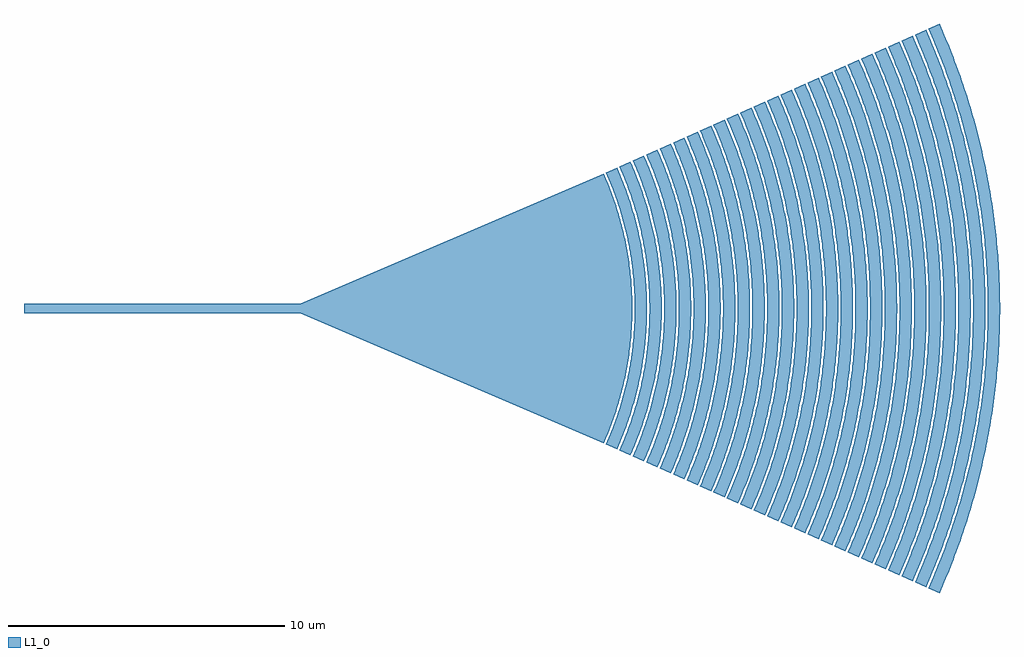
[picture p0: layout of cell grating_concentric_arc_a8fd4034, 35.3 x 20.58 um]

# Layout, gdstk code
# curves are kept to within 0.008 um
import gdstk
lib = gdstk.Library(unit=1e-6, precision=2e-09)
def R(c, l, rs):  # rectangles x0, y0, x1, y1
    for r in rs: c.add(gdstk.rectangle(r[:2], r[2:], *l))
def P(c, l, *ps):  # polygons
    for p in ps: c.add(gdstk.Polygon(p, *l))
L1_0 = (1, 0)

straight_3aa2beef = lib.new_cell('straight_3aa2beef')
R(straight_3aa2beef, L1_0, [(0,-0.174,10,0.174)])

ring_cb5abba0_transform_ = lib.new_cell('ring_cb5abba0_transform_9b5895cb')
P(ring_cb5abba0_transform_, L1_0, [(11.046,-4.918),(11.264,-4.4),(11.434,-3.936),(11.624,-3.334),(11.75,-2.858),(11.884,-2.238),(11.984,-1.614),(12.034,-1.194),(12.08,-0.562),(12.092,0.14),(12.068,0.774),(11.994,1.544),(11.884,2.238),(11.75,2.858),(11.564,3.536),(11.314,4.268),(11.046,4.918),(11.448,5.098),(11.752,4.354),(12.006,3.594),(12.178,2.96),(12.316,2.32),(12.43,1.6),(12.502,0.874),(12.532,0.146),(12.522,-0.51),(12.502,-0.874),(12.448,-1.454),(12.316,-2.32),(12.228,-2.748),(12.124,-3.174),(12.006,-3.594),(11.85,-4.08),(11.674,-4.56),(11.448,-5.098)])

ring_c7aa2b45_transform_ = lib.new_cell('ring_c7aa2b45_transform_c4ac4f29')
P(ring_c7aa2b45_transform_, L1_0, [(11.532,-5.134),(11.76,-4.592),(11.984,-3.97),(12.156,-3.41),(12.284,-2.912),(12.42,-2.264),(12.512,-1.684),(12.57,-1.174),(12.614,-0.514),(12.624,0.146),(12.594,0.88),(12.512,1.684),(12.42,2.264),(12.25,3.054),(12.094,3.62),(11.838,4.386),(11.532,5.134),(11.934,5.314),(12.224,4.61),(12.494,3.82),(12.658,3.234),(12.81,2.568),(12.958,1.668),(13.038,0.836),(13.064,0.152),(13.054,-0.532),(13.026,-0.988),(12.976,-1.516),(12.866,-2.268),(12.81,-2.568),(12.658,-3.234),(12.424,-4.038),(12.142,-4.824),(11.934,-5.314)])

ring_50b1c649_transform_ = lib.new_cell('ring_50b1c649_transform_2cfbf9c7')
P(ring_50b1c649_transform_, L1_0, [(12.018,-5.352),(12.17,-5),(12.44,-4.284),(12.626,-3.7),(12.802,-3.034),(12.9,-2.586),(13.018,-1.906),(13.1,-1.222),(13.146,-0.536),(13.156,0.154),(13.13,0.842),(13.1,1.222),(13.038,1.756),(12.9,2.586),(12.728,3.332),(12.536,3.992),(12.31,4.644),(12.018,5.352),(12.42,5.53),(12.722,4.798),(13.002,3.976),(13.212,3.212),(13.362,2.516),(13.464,1.892),(13.558,1.028),(13.596,0.158),(13.588,-0.474),(13.558,-1.028),(13.522,-1.422),(13.404,-2.282),(13.316,-2.75),(13.212,-3.212),(13.07,-3.748),(12.93,-4.202),(12.694,-4.872),(12.42,-5.53)])

ring_8aef06f3_transform_ = lib.new_cell('ring_8aef06f3_transform_fe53b6db')
P(ring_8aef06f3_transform_, L1_0, [(12.504,-5.568),(12.78,-4.906),(12.994,-4.306),(13.18,-3.696),(13.338,-3.08),(13.452,-2.534),(13.566,-1.826),(13.65,-1.034),(13.68,-0.478),(13.688,0.16),(13.65,1.034),(13.566,1.826),(13.422,2.69),(13.222,3.542),(12.994,4.306),(12.78,4.906),(12.504,5.568),(12.906,5.746),(13.19,5.064),(13.462,4.288),(13.668,3.578),(13.82,2.938),(13.884,2.616),(14.002,1.884),(14.082,1.15),(14.128,0.164),(14.12,-0.494),(14.06,-1.396),(14.002,-1.884),(13.914,-2.454),(13.748,-3.258),(13.604,-3.816),(13.462,-4.288),(13.19,-5.064),(12.906,-5.746)])

ring_7a023c08_transform_ = lib.new_cell('ring_7a023c08_transform_02e0dae3')
P(ring_7a023c08_transform_, L1_0, [(12.99,-5.784),(13.216,-5.25),(13.446,-4.63),(13.67,-3.92),(13.856,-3.198),(13.99,-2.55),(14.094,-1.898),(14.174,-1.156),(14.212,-0.496),(14.22,0.166),(14.192,0.91),(14.094,1.898),(13.99,2.55),(13.818,3.36),(13.67,3.92),(13.55,4.316),(13.306,5.018),(12.99,5.784),(13.392,5.962),(13.656,5.334),(13.916,4.612),(14.02,4.286),(14.204,3.63),(14.358,2.964),(14.506,2.124),(14.612,1.192),(14.656,0.342),(14.652,-0.512),(14.63,-0.938),(14.58,-1.532),(14.53,-1.956),(14.438,-2.546),(14.246,-3.464),(14.02,-4.286),(13.776,-5.014),(13.656,-5.334),(13.392,-5.962)])

ring_7c3c176a_transform_ = lib.new_cell('ring_7c3c176a_transform_70f69381')
P(ring_7c3c176a_transform_, L1_0, [(13.476,-6),(13.742,-5.366),(14.004,-4.64),(14.228,-3.9),(14.394,-3.234),(14.528,-2.562),(14.632,-1.882),(14.704,-1.2),(14.744,-0.514),(14.746,0.43),(14.704,1.2),(14.632,1.882),(14.482,2.814),(14.294,3.652),(14.108,4.314),(13.862,5.046),(13.646,5.606),(13.476,6),(13.878,6.18),(14.184,5.444),(14.476,4.61),(14.698,3.846),(14.896,2.986),(15.032,2.202),(15.09,1.764),(15.142,1.236),(15.186,0.442),(15.186,-0.442),(15.162,-0.972),(15.118,-1.5),(15.006,-2.376),(14.842,-3.246),(14.698,-3.846),(14.554,-4.358),(14.246,-5.278),(14.086,-5.692),(13.878,-6.18)])

ring_800be2b0_transform_ = lib.new_cell('ring_800be2b0_transform_31119a89')
P(ring_800be2b0_transform_, L1_0, [(13.962,-6.216),(14.27,-5.478),(14.536,-4.724),(14.764,-3.956),(14.912,-3.352),(15.068,-2.566),(15.16,-1.95),(15.248,-1.066),(15.278,-0.444),(15.278,0.444),(15.234,1.244),(15.136,2.128),(15.004,2.916),(14.852,3.612),(14.716,4.128),(14.564,4.638),(14.27,5.478),(13.962,6.216),(14.364,6.396),(14.68,5.636),(14.868,5.12),(15.038,4.598),(15.258,3.804),(15.436,3),(15.572,2.188),(15.68,1.188),(15.718,0.458),(15.718,-0.458),(15.698,-0.914),(15.648,-1.552),(15.596,-2.008),(15.516,-2.55),(15.436,-3),(15.322,-3.538),(15.212,-3.982),(15.038,-4.598),(14.868,-5.12),(14.68,-5.636),(14.364,-6.396)])

ring_94457c26_transform_ = lib.new_cell('ring_94457c26_transform_532d7ecf')
P(ring_94457c26_transform_, L1_0, [(14.448,-6.434),(14.766,-5.668),(15.014,-4.974),(15.254,-4.182),(15.432,-3.468),(15.592,-2.656),(15.71,-1.836),(15.772,-1.196),(15.81,-0.46),(15.81,0.46),(15.772,1.196),(15.71,1.836),(15.65,2.292),(15.526,3.018),(15.324,3.916),(15.126,4.624),(14.954,5.15),(14.766,5.668),(14.448,6.434),(14.85,6.612),(15.21,5.738),(15.49,4.934),(15.774,3.932),(15.94,3.194),(16.098,2.262),(16.186,1.512),(16.25,0.472),(16.25,-0.472),(16.21,-1.228),(16.168,-1.7),(16.026,-2.73),(15.84,-3.656),(15.574,-4.662),(15.432,-5.114),(15.244,-5.648),(15.108,-6.002),(14.85,-6.612)])

ring_a4a56223_transform_ = lib.new_cell('ring_a4a56223_transform_c1640bcb')
P(ring_a4a56223_transform_, L1_0, [(14.934,-6.65),(15.194,-6.036),(15.458,-5.322),(15.688,-4.598),(15.93,-3.678),(16.084,-2.932),(16.19,-2.276),(16.302,-1.236),(16.342,-0.476),(16.342,0.476),(16.278,1.52),(16.19,2.276),(16.03,3.212),(15.84,4.048),(15.578,4.962),(15.296,5.77),(14.934,6.65),(15.336,6.828),(15.674,6.016),(15.906,5.374),(16.026,5.002),(16.29,4.062),(16.48,3.204),(16.582,2.626),(16.664,2.046),(16.748,1.172),(16.788,0.196),(16.782,-0.488),(16.748,-1.172),(16.716,-1.56),(16.664,-2.046),(16.582,-2.626),(16.48,-3.204),(16.38,-3.682),(16.242,-4.25),(16.11,-4.722),(15.906,-5.374),(15.776,-5.742),(15.566,-6.288),(15.336,-6.828)])

ring_c39fd912_transform_ = lib.new_cell('ring_c39fd912_transform_6b4ebeaa')
P(ring_c39fd912_transform_, L1_0, [(15.42,-6.866),(15.76,-6.05),(16.024,-5.31),(16.254,-4.558),(16.47,-3.702),(16.624,-2.932),(16.73,-2.252),(16.808,-1.57),(16.858,-0.884),(16.874,-0.49),(16.874,0.49),(16.858,0.884),(16.808,1.57),(16.688,2.544),(16.552,3.318),(16.426,3.892),(16.306,4.368),(16.114,5.03),(15.76,6.05),(15.42,6.866),(15.822,7.044),(16.206,6.112),(16.504,5.256),(16.782,4.288),(16.982,3.404),(17.138,2.51),(17.246,1.61),(17.31,0.604),(17.316,-0.404),(17.302,-0.806),(17.246,-1.61),(17.138,-2.51),(17.058,-3.008),(16.942,-3.602),(16.782,-4.288),(16.622,-4.87),(16.442,-5.448),(16.276,-5.924),(16.02,-6.582),(15.822,-7.044)])

ring_73b58f91_transform_ = lib.new_cell('ring_73b58f91_transform_e67d6896')
P(ring_73b58f91_transform_, L1_0, [(15.906,-7.082),(16.22,-6.334),(16.496,-5.574),(16.766,-4.702),(16.966,-3.916),(17.166,-2.924),(17.27,-2.222),(17.328,-1.72),(17.37,-1.214),(17.408,-0.406),(17.402,0.608),(17.37,1.214),(17.328,1.72),(17.214,2.624),(17.052,3.522),(16.896,4.212),(16.766,4.702),(16.592,5.284),(16.292,6.146),(15.906,7.082),(16.308,7.262),(16.514,6.784),(16.704,6.3),(17.01,5.418),(17.244,4.62),(17.484,3.61),(17.664,2.588),(17.744,1.97),(17.794,1.452),(17.842,0.624),(17.848,-0.416),(17.794,-1.452),(17.744,-1.97),(17.664,-2.588),(17.544,-3.304),(17.44,-3.814),(17.296,-4.42),(17.132,-5.02),(16.914,-5.714),(16.74,-6.204),(16.514,-6.784),(16.308,-7.262)])

ring_4228f2cd_transform_ = lib.new_cell('ring_4228f2cd_transform_88c4e8f1')
P(ring_4228f2cd_transform_, L1_0, [(16.392,-7.298),(16.79,-6.334),(17.034,-5.644),(17.306,-4.746),(17.508,-3.934),(17.69,-3.014),(17.798,-2.29),(17.894,-1.356),(17.94,-0.418),(17.934,0.626),(17.876,1.564),(17.798,2.29),(17.74,2.704),(17.574,3.628),(17.36,4.544),(17.066,5.546),(16.79,6.334),(16.392,7.298),(16.794,7.478),(17.164,6.588),(17.518,5.58),(17.786,4.654),(17.914,4.136),(18.026,3.612),(18.124,3.088),(18.206,2.558),(18.324,1.496),(18.374,0.642),(18.38,-0.428),(18.324,-1.496),(18.248,-2.24),(18.158,-2.876),(18.026,-3.612),(17.914,-4.136),(17.672,-5.068),(17.518,-5.58),(17.276,-6.288),(17.006,-6.986),(16.794,-7.478)])

ring_da6751a1_transform_ = lib.new_cell('ring_da6751a1_transform_8f6bdd80')
P(ring_da6751a1_transform_, L1_0, [(16.878,-7.516),(17.25,-6.622),(17.572,-5.71),(17.79,-4.99),(17.954,-4.366),(18.05,-3.946),(18.232,-2.996),(18.352,-2.144),(18.432,-1.288),(18.472,-0.43),(18.466,0.644),(18.416,1.504),(18.352,2.144),(18.282,2.678),(18.116,3.63),(17.902,4.574),(17.638,5.504),(17.47,6.016),(17.25,6.622),(16.878,7.516),(17.28,7.694),(17.498,7.188),(17.738,6.574),(18.058,5.636),(18.328,4.682),(18.548,3.718),(18.648,3.176),(18.748,2.524),(18.854,1.538),(18.912,0.44),(18.912,-0.44),(18.854,-1.538),(18.776,-2.306),(18.684,-2.96),(18.59,-3.502),(18.48,-4.04),(18.328,-4.682),(18.184,-5.214),(17.99,-5.846),(17.776,-6.47),(17.498,-7.188),(17.28,-7.694)])

ring_c691ef72_transform_ = lib.new_cell('ring_c691ef72_transform_29a0d473')
P(ring_c691ef72_transform_, L1_0, [(17.364,-7.732),(17.706,-6.916),(18.044,-5.978),(18.302,-5.134),(18.522,-4.276),(18.72,-3.3),(18.824,-2.646),(18.88,-2.206),(18.97,-1.216),(19.004,-0.442),(19.004,0.442),(18.946,1.546),(18.824,2.646),(18.638,3.736),(18.444,4.598),(18.146,5.664),(17.786,6.708),(17.498,7.428),(17.364,7.732),(17.766,7.91),(18.116,7.076),(18.314,6.546),(18.532,5.902),(18.786,5.034),(18.924,4.486),(19.07,3.822),(19.226,2.93),(19.354,1.92),(19.428,0.904),(19.446,0.34),(19.446,-0.34),(19.428,-0.904),(19.384,-1.582),(19.304,-2.37),(19.226,-2.93),(19.024,-4.044),(18.898,-4.596),(18.726,-5.252),(18.532,-5.902),(18.276,-6.652),(17.99,-7.39),(17.766,-7.91)])

ring_c10de760_transform_ = lib.new_cell('ring_c10de760_transform_f8314196')
P(ring_c10de760_transform_, L1_0, [(17.852,-7.948),(18.202,-7.108),(18.362,-6.684),(18.584,-6.038),(18.752,-5.496),(18.904,-4.948),(19.09,-4.174),(19.282,-3.17),(19.422,-2.156),(19.508,-1.136),(19.536,-0.454),(19.536,0.454),(19.52,0.91),(19.476,1.59),(19.422,2.156),(19.35,2.72),(19.282,3.17),(19.16,3.84),(19.04,4.396),(18.904,4.948),(18.752,5.496),(18.584,6.038),(18.362,6.684),(18.202,7.108),(17.852,7.948),(18.252,8.126),(18.438,7.7),(18.654,7.16),(18.854,6.614),(19.038,6.064),(19.33,5.058),(19.568,4.04),(19.77,2.896),(19.894,1.858),(19.964,0.814),(19.978,0.348),(19.978,-0.348),(19.924,-1.51),(19.846,-2.32),(19.77,-2.896),(19.568,-4.04),(19.442,-4.608),(19.27,-5.284),(19.038,-6.064),(18.776,-6.834),(18.526,-7.484),(18.252,-8.126)])

ring_40bfcd7f_transform_ = lib.new_cell('ring_40bfcd7f_transform_b391ea8b')
P(ring_40bfcd7f_transform_, L1_0, [(18.338,-8.164),(18.74,-7.194),(19.054,-6.314),(19.358,-5.308),(19.61,-4.288),(19.726,-3.716),(19.826,-3.14),(19.95,-2.214),(20.032,-1.284),(20.07,-0.35),(20.072,0.234),(20.056,0.818),(19.986,1.866),(19.844,3.024),(19.658,4.058),(19.448,4.97),(19.126,6.092),(18.902,6.756),(18.74,7.194),(18.338,8.164),(18.738,8.344),(19.064,7.574),(19.276,7.016),(19.472,6.452),(19.814,5.308),(19.96,4.73),(20.112,4.032),(20.296,2.972),(20.424,1.906),(20.496,0.836),(20.51,0.358),(20.51,-0.358),(20.496,-0.836),(20.454,-1.55),(20.388,-2.262),(20.296,-2.972),(20.18,-3.68),(20.064,-4.264),(19.932,-4.846),(19.75,-5.54),(19.472,-6.452),(19.276,-7.016),(19.064,-7.574),(18.738,-8.344)])

ring_92099f4b_transform_ = lib.new_cell('ring_92099f4b_transform_0c25cca1')
P(ring_92099f4b_transform_, L1_0, [(18.824,-8.38),(19.236,-7.384),(19.596,-6.368),(19.934,-5.216),(20.128,-4.402),(20.332,-3.342),(20.466,-2.392),(20.554,-1.438),(20.602,-0.36),(20.604,0.24),(20.588,0.838),(20.516,1.916),(20.466,2.392),(20.37,3.104),(20.202,4.05),(20.05,4.752),(19.934,5.216),(19.596,6.368),(19.236,7.384),(18.824,8.38),(19.224,8.56),(19.466,7.996),(19.69,7.428),(20.052,6.386),(20.23,5.8),(20.39,5.21),(20.61,4.256),(20.804,3.172),(20.888,2.564),(20.954,1.956),(21.002,1.346),(21.032,0.734),(21.042,-0.368),(20.994,-1.468),(20.93,-2.2),(20.84,-2.928),(20.746,-3.534),(20.61,-4.256),(20.478,-4.854),(20.296,-5.564),(20.052,-6.386),(19.776,-7.198),(19.512,-7.884),(19.224,-8.56)])

ring_41e1ee71_transform_ = lib.new_cell('ring_41e1ee71_transform_8087eda1')
P(ring_41e1ee71_transform_, L1_0, [(19.31,-8.596),(19.644,-7.804),(19.862,-7.23),(20.064,-6.648),(20.352,-5.708),(20.622,-4.634),(20.816,-3.67),(20.914,-3.064),(20.994,-2.454),(21.094,-1.352),(21.134,-0.368),(21.134,0.368),(21.114,0.984),(21.034,2.088),(20.896,3.184),(20.7,4.274),(20.448,5.352),(20.14,6.414),(19.776,7.46),(19.598,7.918),(19.31,8.596),(19.71,8.776),(20.144,7.732),(20.52,6.668),(20.706,6.068),(20.874,5.464),(21.024,4.854),(21.156,4.24),(21.27,3.624),(21.384,2.878),(21.494,1.88),(21.564,0.754),(21.574,-0.376),(21.524,-1.506),(21.458,-2.256),(21.384,-2.878),(21.27,-3.624),(21.156,-4.24),(21.024,-4.854),(20.842,-5.584),(20.634,-6.308),(20.36,-7.144),(20.006,-8.082),(19.71,-8.776)])

ring_20434819_transform_ = lib.new_cell('ring_20434819_transform_fb0d65ed')
P(ring_20434819_transform_, L1_0, [(19.796,-8.814),(20.23,-7.766),(20.608,-6.696),(20.898,-5.73),(21.142,-4.752),(21.34,-3.762),(21.422,-3.266),(21.522,-2.516),(21.616,-1.512),(21.666,-0.378),(21.656,0.756),(21.586,1.888),(21.458,3.016),(21.34,3.762),(21.246,4.258),(21.142,4.752),(20.994,5.364),(20.83,5.972),(20.608,6.696),(20.23,7.766),(19.796,8.814),(20.196,8.992),(20.45,8.402),(20.686,7.802),(21.066,6.71),(21.356,5.722),(21.542,4.974),(21.678,4.344),(21.816,3.586),(21.894,3.076),(21.974,2.438),(22.036,1.798),(22.078,1.158),(22.102,0.514),(22.102,-0.514),(22.078,-1.158),(22.036,-1.798),(21.974,-2.438),(21.894,-3.076),(21.75,-3.966),(21.626,-4.596),(21.452,-5.348),(21.322,-5.846),(21.066,-6.71),(20.776,-7.562),(20.45,-8.402),(20.196,-8.992)])

ring_7e80e04d_transform_ = lib.new_cell('ring_7e80e04d_transform_4a611ac1')
P(ring_7e80e04d_transform_, L1_0, [(20.282,-9.03),(20.536,-8.436),(20.772,-7.836),(21.154,-6.738),(21.478,-5.622),(21.716,-4.616),(21.928,-3.472),(22.05,-2.578),(22.156,-1.42),(22.198,-0.388),(22.192,0.646),(22.156,1.42),(22.104,2.064),(21.966,3.218),(21.864,3.856),(21.742,4.49),(21.478,5.622),(21.154,6.738),(20.772,7.836),(20.536,8.436),(20.282,9.03),(20.682,9.208),(20.942,8.604),(21.184,7.99),(21.364,7.496),(21.612,6.746),(21.8,6.114),(21.936,5.604),(22.09,4.964),(22.198,4.45),(22.274,4.062),(22.402,3.282),(22.488,2.628),(22.566,1.842),(22.61,1.184),(22.634,0.526),(22.634,-0.526),(22.61,-1.184),(22.566,-1.842),(22.488,-2.628),(22.402,-3.282),(22.274,-4.062),(22.146,-4.708),(22,-5.35),(21.8,-6.114),(21.612,-6.746),(21.32,-7.62),(20.992,-8.482),(20.682,-9.208)])

ring_4735d313_transform_ = lib.new_cell('ring_4735d313_transform_66db53c3')
P(ring_4735d313_transform_, L1_0, [(20.768,-9.246),(21.028,-8.638),(21.27,-8.022),(21.62,-7.024),(21.924,-6.012),(22.18,-4.984),(22.388,-3.948),(22.564,-2.77),(22.678,-1.586),(22.73,-0.396),(22.73,0.396),(22.714,0.926),(22.658,1.85),(22.594,2.508),(22.512,3.164),(22.388,3.948),(22.29,4.468),(22.15,5.114),(21.992,5.756),(21.816,6.392),(21.62,7.024),(21.27,8.022),(21.028,8.638),(20.768,9.246),(21.17,9.426),(21.486,8.68),(21.682,8.178),(22.08,7.032),(22.418,5.868),(22.694,4.686),(22.888,3.624),(22.966,3.092),(23.06,2.288),(23.116,1.616),(23.154,0.944),(23.172,0.134),(23.166,-0.54),(23.134,-1.348),(23.096,-1.886),(23.016,-2.69),(22.928,-3.358),(22.844,-3.892),(22.694,-4.686),(22.548,-5.344),(22.348,-6.128),(22.12,-6.904),(21.866,-7.672),(21.536,-8.556),(21.17,-9.426)])

ring_247357b0_transform_ = lib.new_cell('ring_247357b0_transform_c74b2f90')
P(ring_247357b0_transform_, L1_0, [(21.254,-9.462),(21.72,-8.338),(22.084,-7.318),(22.288,-6.672),(22.472,-6.022),(22.728,-4.97),(22.912,-4.04),(23.092,-2.836),(23.208,-1.622),(23.258,-0.542),(23.258,0.542),(23.24,1.082),(23.188,1.892),(23.138,2.432),(23.038,3.238),(22.838,4.44),(22.574,5.628),(22.364,6.412),(22.168,7.06),(21.998,7.574),(21.72,8.338),(21.254,9.462),(21.656,9.642),(22.13,8.494),(22.322,7.978),(22.544,7.326),(22.748,6.666),(22.932,6.002),(23.128,5.198),(23.242,4.658),(23.368,3.98),(23.474,3.3),(23.602,2.204),(23.656,1.516),(23.69,0.828),(23.704,0.138),(23.698,-0.552),(23.656,-1.516),(23.602,-2.204),(23.528,-2.888),(23.434,-3.572),(23.32,-4.252),(23.158,-5.064),(23.034,-5.6),(22.824,-6.402),(22.544,-7.326),(22.322,-7.978),(22.03,-8.752),(21.656,-9.642)])

ring_6b6707c2_transform_ = lib.new_cell('ring_6b6707c2_transform_9a4f47e2')
P(ring_6b6707c2_transform_, L1_0, [(21.74,-9.678),(22.012,-9.042),(22.266,-8.398),(22.632,-7.354),(22.95,-6.292),(23.218,-5.218),(23.36,-4.54),(23.482,-3.86),(23.62,-2.9),(23.718,-1.936),(23.764,-1.246),(23.79,-0.554),(23.79,0.554),(23.764,1.246),(23.718,1.936),(23.652,2.626),(23.584,3.174),(23.482,3.86),(23.36,4.54),(23.218,5.218),(23.056,5.892),(22.716,7.09),(22.5,7.748),(22.266,8.398),(22.012,9.042),(21.74,9.678),(22.142,9.858),(22.576,8.818),(22.87,8.024),(23.094,7.356),(23.298,6.68),(23.482,6),(23.616,5.452),(23.792,4.624),(23.916,3.93),(24.02,3.234),(24.104,2.534),(24.168,1.832),(24.204,1.268),(24.23,0.564),(24.23,-0.564),(24.196,-1.41),(24.132,-2.252),(24.056,-2.954),(23.96,-3.652),(23.844,-4.348),(23.678,-5.176),(23.374,-6.408),(23.094,-7.356),(22.87,-8.024),(22.576,-8.818),(22.142,-9.858)])

ring_c4b64c00_transform_ = lib.new_cell('ring_c4b64c00_transform_649ef067')
P(ring_c4b64c00_transform_, L1_0, [(22.226,-9.896),(22.662,-8.85),(22.91,-8.188),(23.182,-7.384),(23.5,-6.296),(23.768,-5.196),(23.984,-4.086),(24.148,-2.964),(24.224,-2.262),(24.27,-1.698),(24.322,-0.566),(24.328,0.142),(24.314,0.85),(24.248,1.98),(24.196,2.544),(24.112,3.246),(23.984,4.086),(23.882,4.642),(23.768,5.196),(23.572,6.022),(23.386,6.706),(23.182,7.384),(22.91,8.188),(22.662,8.85),(22.226,9.896),(22.628,10.074),(22.91,9.412),(23.226,8.606),(23.466,7.928),(23.644,7.38),(23.998,6.132),(24.166,5.432),(24.286,4.868),(24.416,4.16),(24.528,3.448),(24.662,2.302),(24.718,1.584),(24.754,0.864),(24.768,0.144),(24.762,-0.576),(24.742,-1.152),(24.698,-1.872),(24.618,-2.732),(24.528,-3.448),(24.416,-4.16),(24.286,-4.868),(24.134,-5.572),(23.962,-6.272),(23.644,-7.38),(23.372,-8.2),(23.072,-9.01),(22.628,-10.074)])

ring_cd037eae_transform_ = lib.new_cell('ring_cd037eae_transform_30be27c1')
P(ring_cd037eae_transform_, L1_0, [(22.712,-10.112),(23.21,-8.91),(23.644,-7.682),(23.976,-6.574),(24.256,-5.452),(24.376,-4.886),(24.508,-4.174),(24.676,-3.03),(24.79,-1.878),(24.834,-1.156),(24.854,-0.578),(24.86,0.144),(24.846,0.868),(24.81,1.59),(24.766,2.166),(24.676,3.03),(24.598,3.604),(24.508,4.174),(24.376,4.886),(24.122,6.014),(23.976,6.574),(23.732,7.406),(23.506,8.094),(23.21,8.91),(22.712,10.112),(23.114,10.29),(23.458,9.478),(23.672,8.93),(23.874,8.376),(24.108,7.678),(24.28,7.116),(24.476,6.406),(24.652,5.692),(24.808,4.972),(24.942,4.248),(25.034,3.666),(25.13,2.938),(25.204,2.206),(25.258,1.472),(25.286,0.882),(25.3,0.148),(25.294,-0.588),(25.258,-1.472),(25.204,-2.206),(25.13,-2.938),(25.034,-3.666),(24.916,-4.394),(24.748,-5.26),(24.584,-5.978),(24.4,-6.69),(24.152,-7.538),(23.874,-8.376),(23.458,-9.478),(23.114,-10.29)])

grating_concentric_arc_a = lib.new_cell('grating_concentric_arc_a8fd4034')
P(grating_concentric_arc_a, L1_0, [(0,0.174),(0,-0.174),(10.962,-4.882),(11.006,-4.786),(11.24,-4.202),(11.476,-3.508),(11.644,-2.902),(11.78,-2.29),(11.868,-1.774),(11.954,-1.046),(11.99,-0.524),(12,0.104),(11.99,0.524),(11.934,1.254),(11.836,1.98),(11.738,2.496),(11.564,3.206),(11.38,3.808),(11.126,4.496),(10.962,4.882)])
grating_concentric_arc_a.add(gdstk.Reference(straight_3aa2beef, (-10,0)))
grating_concentric_arc_a.add(gdstk.Reference(ring_cb5abba0_transform_, (0,0)))
grating_concentric_arc_a.add(gdstk.Reference(ring_c7aa2b45_transform_, (0,0)))
grating_concentric_arc_a.add(gdstk.Reference(ring_50b1c649_transform_, (0,0)))
grating_concentric_arc_a.add(gdstk.Reference(ring_8aef06f3_transform_, (0,0)))
grating_concentric_arc_a.add(gdstk.Reference(ring_7a023c08_transform_, (0,0)))
grating_concentric_arc_a.add(gdstk.Reference(ring_7c3c176a_transform_, (0,0)))
grating_concentric_arc_a.add(gdstk.Reference(ring_800be2b0_transform_, (0,0)))
grating_concentric_arc_a.add(gdstk.Reference(ring_94457c26_transform_, (0,0)))
grating_concentric_arc_a.add(gdstk.Reference(ring_a4a56223_transform_, (0,0)))
grating_concentric_arc_a.add(gdstk.Reference(ring_c39fd912_transform_, (0,0)))
grating_concentric_arc_a.add(gdstk.Reference(ring_73b58f91_transform_, (0,0)))
grating_concentric_arc_a.add(gdstk.Reference(ring_4228f2cd_transform_, (0,0)))
grating_concentric_arc_a.add(gdstk.Reference(ring_da6751a1_transform_, (0,0)))
grating_concentric_arc_a.add(gdstk.Reference(ring_c691ef72_transform_, (0,0)))
grating_concentric_arc_a.add(gdstk.Reference(ring_c10de760_transform_, (0,0)))
grating_concentric_arc_a.add(gdstk.Reference(ring_40bfcd7f_transform_, (0,0)))
grating_concentric_arc_a.add(gdstk.Reference(ring_92099f4b_transform_, (0,0)))
grating_concentric_arc_a.add(gdstk.Reference(ring_41e1ee71_transform_, (0,0)))
grating_concentric_arc_a.add(gdstk.Reference(ring_20434819_transform_, (0,0)))
grating_concentric_arc_a.add(gdstk.Reference(ring_7e80e04d_transform_, (0,0)))
grating_concentric_arc_a.add(gdstk.Reference(ring_4735d313_transform_, (0,0)))
grating_concentric_arc_a.add(gdstk.Reference(ring_247357b0_transform_, (0,0)))
grating_concentric_arc_a.add(gdstk.Reference(ring_6b6707c2_transform_, (0,0)))
grating_concentric_arc_a.add(gdstk.Reference(ring_c4b64c00_transform_, (0,0)))
grating_concentric_arc_a.add(gdstk.Reference(ring_cd037eae_transform_, (0,0)))

lib.write_gds('grating_concentric_arc_a8fd4034.gds')
